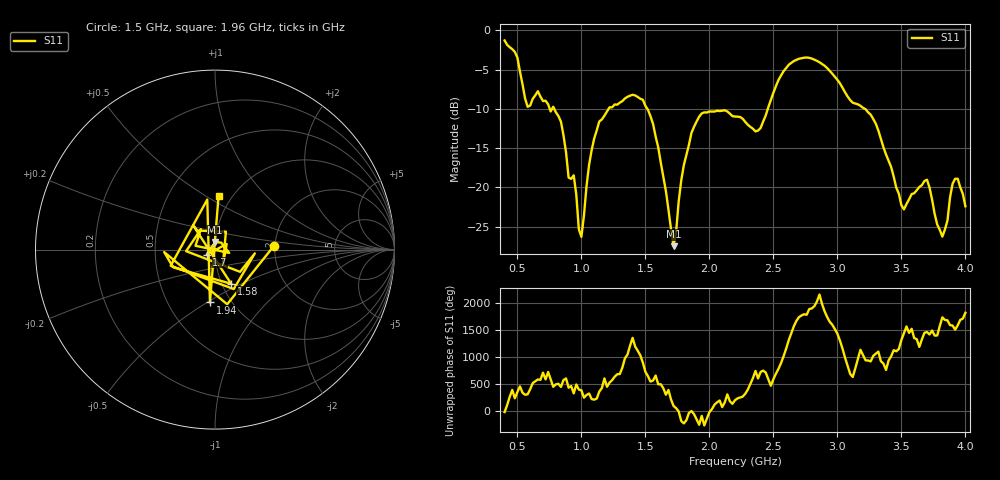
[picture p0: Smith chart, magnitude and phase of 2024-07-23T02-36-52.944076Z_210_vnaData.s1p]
!Created with skrf (http://scikit-rf.org).
# Hz S RI R 50.0
!freq ReS11 ImS11
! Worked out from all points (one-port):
!   181 points, 400 MHz to 4 GHz, reference 50 ohm
!   lowest |S11| = -27.5 dB at 1.72 GHz (marker M1), VSWR 1.09, Z = 50 + j4.22 ohm
!   |S11| at or under -10 dB: 788.1 MHz to 1.212 GHz (424.2 MHz wide, 42.4 % of centre); 1.515 GHz to 2.456 GHz (940.6 MHz wide, 47.4 % of centre); 3.217 GHz to end of sweep (the widest 3 of 4)
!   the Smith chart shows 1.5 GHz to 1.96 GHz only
!   S11 on the Smith chart (normalised r, x): 1.5 GHz: 1.98, +0.10; 1.58 GHz: 1.11, -0.44; 1.7 GHz: 0.91, -0.05; 1.94 GHz: 0.80, -0.52; 1.96 GHz: 0.87, +0.57
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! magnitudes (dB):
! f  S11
! 400 MHz  -1.3
! 500 MHz  -3.5
! 580 MHz  -9.7
! 660 MHz  -7.7
! 860 MHz  -13.4
! 940 MHz  -18.5
! 1 GHz  -26.3
! 1.1 GHz  -13.8
! 1.3 GHz  -9.2
! 1.5 GHz  -9.6
! 1.58 GHz  -13.5
! 1.7 GHz  -25.3
! 1.72 GHz  -27.5
! 1.76 GHz  -21.8
! 1.86 GHz  -13.0
! 1.94 GHz  -10.6
! 1.96 GHz  -10.4
! 2.2 GHz  -11.0
! 2.38 GHz  -12.8
! 2.66 GHz  -3.9
! 3.1 GHz  -8.9
! 3.26 GHz  -10.7
! 3.5 GHz  -22.3
! 3.56 GHz  -21.5
! 3.7 GHz  -19.0
! 3.82 GHz  -26.3
! 3.92 GHz  -18.9
! 4 GHz  -22.4
